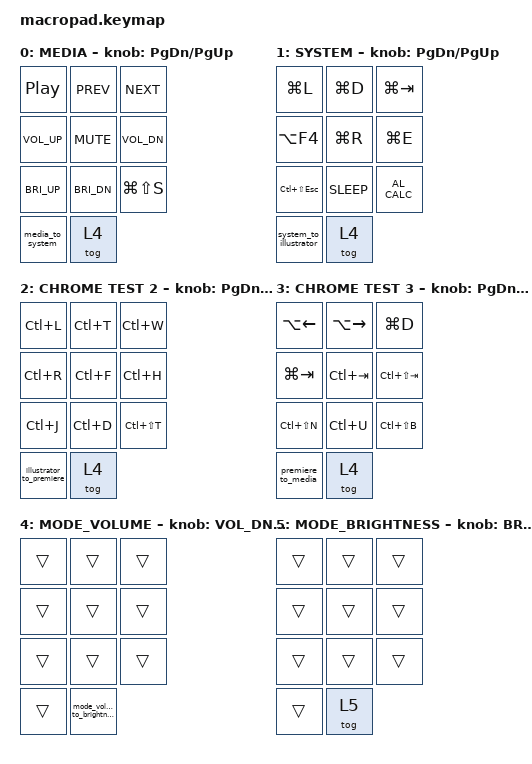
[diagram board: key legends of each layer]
/*
 * ZMK Keymap — Hand-corrected test version
 * Device        : nice!nano v2 · 3x3 Macropad
 * Content Layers: 0 media, 1 system, 2 illustrator, 3 premiere_pro
 *                 (cycled by FN, via macros -- NOT &to, so overlays survive)
 * Encoder Modes : 4 mode_volume, 5 mode_brightness
 *                 (cycled by encoder push, fully independent of FN)
 *
 * TEST GOAL:
 *   1. Rotate encoder on any content layer -> page scroll.
 *   2. Press encoder -> volume mode. Rotate -> volume changes.
 *   3. Press FN while in volume mode -> content layer switches,
 *      encoder STAYS in volume mode (this is the exact bug we're fixing).
 *   4. Press encoder again -> brightness mode. Press again -> back to scroll.
 */

#include <behaviors.dtsi>
#include <dt-bindings/zmk/keys.h>
#include <dt-bindings/zmk/outputs.h>

/ {
    macros {
        // ── FN round-robin transitions (replace &to, preserve other layers) ──
        media_to_system: media_to_system {
            compatible = "zmk,behavior-macro";
            #binding-cells = <0>;
            bindings = <&tog 0>, <&tog 1>;
        };

        system_to_illustrator: system_to_illustrator {
            compatible = "zmk,behavior-macro";
            #binding-cells = <0>;
            bindings = <&tog 1>, <&tog 2>;
        };

        illustrator_to_premiere: illustrator_to_premiere {
            compatible = "zmk,behavior-macro";
            #binding-cells = <0>;
            bindings = <&tog 2>, <&tog 3>;
        };

        premiere_to_media: premiere_to_media {
            compatible = "zmk,behavior-macro";
            #binding-cells = <0>;
            bindings = <&tog 3>, <&tog 0>;
        };

        // ── Encoder mode transition (unchanged from before) ──
        mode_volume_to_brightness: mode_volume_to_brightness {
            compatible = "zmk,behavior-macro";
            #binding-cells = <0>;
            bindings = <&tog 4>, <&tog 5>;
        };
    };

    keymap {
        compatible = "zmk,keymap";

        media: layer_0 {
            label = "MEDIA";
            bindings = <
                &kp C_PP               &kp C_PREV             &kp C_NEXT
                &kp C_VOL_UP           &kp C_MUTE             &kp C_VOL_DN
                &kp C_BRI_UP           &kp C_BRI_DN           &kp LG(LS(S))
                &media_to_system       &tog 4
            >;
            sensor-bindings = <&inc_dec_kp PG_DN PG_UP>;
        };

        system: layer_1 {
            label = "SYSTEM";
            bindings = <
                &kp LG(L)              &kp LG(D)              &kp LG(TAB)
                &kp LA(F4)             &kp LG(R)              &kp LG(E)
                &kp LC(LS(ESC))        &kp C_SLEEP            &kp C_AL_CALC
                &system_to_illustrator &tog 4
            >;
            sensor-bindings = <&inc_dec_kp PG_DN PG_UP>;
        };

        illustrator: layer_2 {
            label = "CHROME TEST 2";
            bindings = <
                &kp LC(L)              &kp LC(T)              &kp LC(W)
                &kp LC(R)              &kp LC(F)              &kp LC(H)
                &kp LC(J)              &kp LC(D)              &kp LC(LS(T))
                &illustrator_to_premiere &tog 4
            >;
            sensor-bindings = <&inc_dec_kp PG_DN PG_UP>;
        };

        premiere_pro: layer_3 {
            label = "CHROME TEST 3";
            bindings = <
                &kp LA(LEFT)           &kp LA(RIGHT)          &kp LG(D)
                &kp LG(TAB)            &kp LC(TAB)            &kp LC(LS(TAB))
                &kp LC(LS(N))          &kp LC(U)              &kp LC(LS(B))
                &premiere_to_media     &tog 4
            >;
            sensor-bindings = <&inc_dec_kp PG_DN PG_UP>;
        };

        mode_volume: layer_4 {
            label = "MODE_VOLUME";
            bindings = <
                &trans                 &trans                 &trans
                &trans                 &trans                 &trans
                &trans                 &trans                 &trans
                &trans                 &mode_volume_to_brightness
            >;
            sensor-bindings = <&inc_dec_kp C_VOL_DN C_VOL_UP>;
        };

        mode_brightness: layer_5 {
            label = "MODE_BRIGHTNESS";
            bindings = <
                &trans                 &trans                 &trans
                &trans                 &trans                 &trans
                &trans                 &trans                 &trans
                &trans                 &tog 5
            >;
            sensor-bindings = <&inc_dec_kp C_BRI_DN C_BRI_UP>;
        };
    };
};
